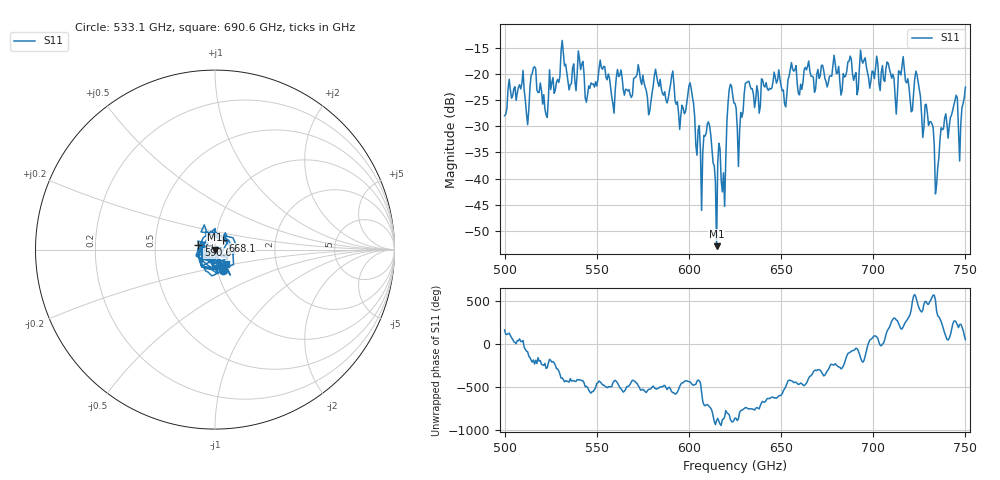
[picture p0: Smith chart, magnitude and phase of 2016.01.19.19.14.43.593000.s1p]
!Created with skrf (http://scikit-rf.org).
# GHz S RI R 50.0
!freq ReS11 ImS11
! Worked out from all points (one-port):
!   401 points, 500 GHz to 750 GHz, reference 50 ohm
!   lowest |S11| = -52.9 dB at 615 GHz (marker M1), VSWR 1.00, Z = 49.8 - j0.0407 ohm
!   |S11| at or under -10 dB: start of sweep to end of sweep
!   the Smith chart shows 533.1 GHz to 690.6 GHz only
!   S11 on the Smith chart (normalised r, x): 533.1 GHz: 1.06, -0.25; 590.6 GHz: 0.83, +0.04; 668.1 GHz: 1.08, +0.11; 690.6 GHz: 1.12, -0.18
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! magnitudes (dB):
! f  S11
! 500 GHz  -28.0
! 512.5 GHz  -29.7
! 515.6 GHz  -18.9
! 522.5 GHz  -27.8
! 531.2 GHz  -13.6
! 533.1 GHz  -18.2
! 562.5 GHz  -20.3
! 590.6 GHz  -20.4
! 593.8 GHz  -25.3
! 601.2 GHz  -22.9
! 605.6 GHz  -29.9
! 610.6 GHz  -29.2
! 615 GHz  -52.9
! 618.8 GHz  -38.9
! 622.5 GHz  -22.0
! 625 GHz  -25.7
! 627.5 GHz  -30.9
! 631.9 GHz  -21.5
! 656.2 GHz  -19.1
! 668.1 GHz  -23.5
! 687.5 GHz  -16.6
! 690.6 GHz  -19.8
! 718.8 GHz  -20.9
! 723.8 GHz  -20.2
! 734.4 GHz  -41.2
! 738.1 GHz  -30.5
! 747.5 GHz  -29.6
! 750 GHz  -22.6
